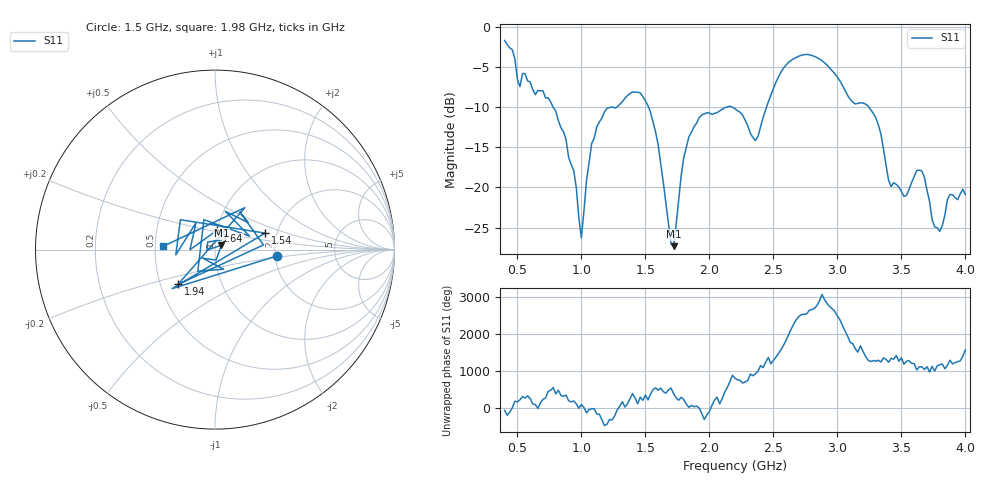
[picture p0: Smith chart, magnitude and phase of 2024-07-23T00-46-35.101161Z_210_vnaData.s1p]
!Created with skrf (http://scikit-rf.org).
# Hz S RI R 50.0
!freq ReS11 ImS11
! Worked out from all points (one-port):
!   181 points, 400 MHz to 4 GHz, reference 50 ohm
!   lowest |S11| = -27.3 dB at 1.72 GHz (marker M1), VSWR 1.09, Z = 53.6 + j2.6 ohm
!   |S11| at or under -10 dB: 778.3 MHz to 1.235 GHz (456.8 MHz wide, 45.4 % of centre); 1.524 GHz to 2.136 GHz (611.2 MHz wide, 33.4 % of centre); 3.246 GHz to end of sweep (the widest 3 of 5)
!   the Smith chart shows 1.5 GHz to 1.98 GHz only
!   S11 on the Smith chart (normalised r, x): 1.5 GHz: 2.04, -0.16; 1.54 GHz: 1.73, +0.35; 1.64 GHz: 1.00, +0.22; 1.94 GHz: 0.62, -0.26; 1.98 GHz: 0.55, +0.02
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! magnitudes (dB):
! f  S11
! 400 MHz  -1.7
! 520 MHz  -7.5
! 700 MHz  -8.0
! 860 MHz  -13.1
! 940 MHz  -17.9
! 1 GHz  -26.3
! 1.08 GHz  -14.5
! 1.3 GHz  -9.6
! 1.5 GHz  -9.2
! 1.54 GHz  -10.6
! 1.64 GHz  -19.4
! 1.72 GHz  -27.3
! 1.76 GHz  -21.6
! 1.84 GHz  -13.7
! 1.94 GHz  -11.0
! 1.98 GHz  -10.7
! 2.2 GHz  -10.2
! 2.36 GHz  -14.2
! 2.66 GHz  -4.0
! 2.88 GHz  -4.2
! 3.1 GHz  -9.0
! 3.3 GHz  -11.3
! 3.42 GHz  -19.9
! 3.56 GHz  -20.2
! 3.66 GHz  -18.0
! 3.8 GHz  -25.5
! 3.88 GHz  -20.9
! 4 GHz  -20.9
